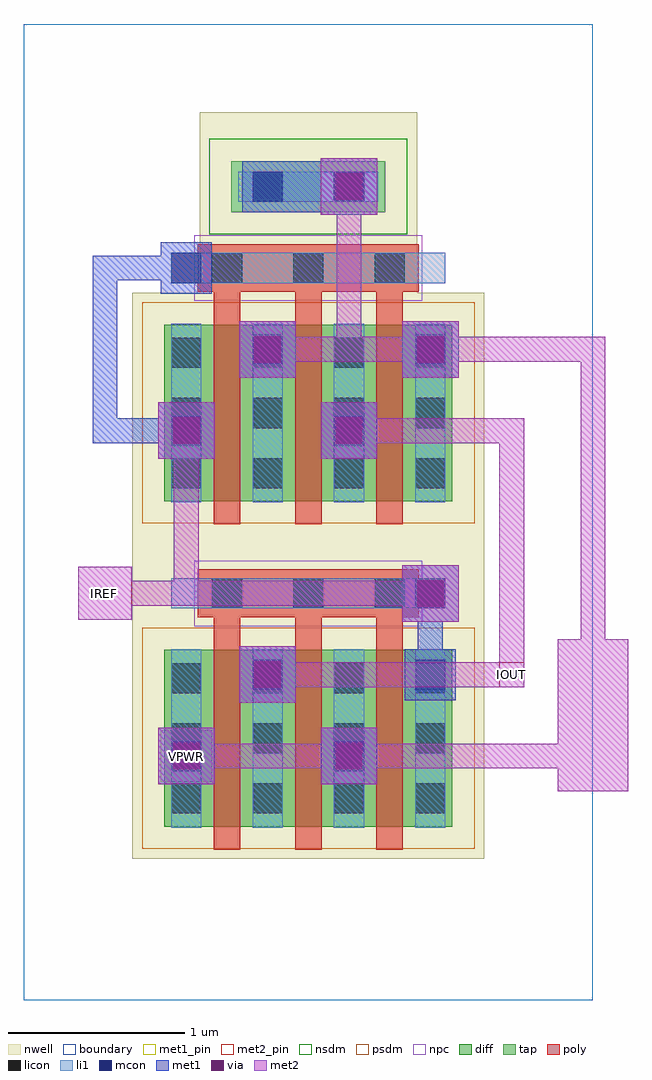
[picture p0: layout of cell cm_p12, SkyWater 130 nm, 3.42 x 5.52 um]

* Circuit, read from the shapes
.subckt cm_p12 IOUT IREF VPWR
XM1 IOUT IREF VPWR VPWR sky130_fd_pr__pfet_01v8 w=1 l=0.15 m=4
XM2 VPWR IREF IREF VPWR sky130_fd_pr__pfet_01v8 w=1 l=0.15 m=2
.ends

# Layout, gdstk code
import gdstk
lib = gdstk.Library(unit=1e-6, precision=1e-09)
def R(c, l, rs):  # rectangles x0, y0, x1, y1
    for r in rs: c.add(gdstk.rectangle(r[:2], r[2:], *l))
def A(c, l, x, y, w, h, nx, ny, dx, dy):  # array of equal rectangles
    R(c, l, [(x+i*dx, y+j*dy, x+i*dx+w, y+j*dy+h) for i in range(nx) for j in range(ny)])
nwell = (64, 20)
diff = (65, 20)
tap = (65, 44)
poly = (66, 20)
licon = (66, 44)
li1 = (67, 20)
mcon = (67, 44)
met1_pin = (68, 16)
met1 = (68, 20)
via = (68, 44)
met2_pin = (69, 16)
met2 = (69, 20)
nsdm = (93, 44)
psdm = (94, 20)
npc = (95, 20)
boundary = (235, 4)

cm_p12 = lib.new_cell('cm_p12')
R(cm_p12, nwell, [(0.615,0.8,2.605,4), (0.995,4,2.225,5.02)])
R(cm_p12, diff, [(0.795,0.98,2.425,1.98), (0.795,2.82,2.425,3.82)])
R(cm_p12, tap, [(1.175,4.455,2.045,4.745)])
A(cm_p12, poly, 1.075, 0.85, 0.15, 1.45, 3, 2, 0.46, 1.84)
R(cm_p12, poly, [(0.985,2.165,2.235,2.435), (0.985,4.005,2.235,4.275)])
A(cm_p12, licon, 0.835, 1.055, 0.17, 0.17, 4, 3, 0.46, 0.34)
A(cm_p12, licon, 1.065, 2.215, 0.17, 0.17, 3, 2, 0.46, 1.84)
A(cm_p12, licon, 0.835, 2.895, 0.17, 0.17, 4, 3, 0.46, 0.34)
R(cm_p12, licon, [(1.295,4.515,1.465,4.685), (1.755,4.515,1.925,4.685)])
A(cm_p12, li1, 0.835, 0.975, 0.17, 1.01, 4, 2, 0.46, 1.84)
R(cm_p12, li1, [(0.835,2.215,2.385,2.385), (0.835,4.055,2.385,4.225), (1.215,4.515,2.005,4.685)])
R(cm_p12, mcon, [(0.835,1.295,1.005,1.465), (1.755,1.295,1.925,1.465), (1.295,1.755,1.465,1.925), (2.215,1.755,2.385,1.925), (2.215,2.215,2.385,2.385), (0.835,3.135,1.005,3.305), (1.755,3.135,1.925,3.305), (1.295,3.595,1.465,3.765), (2.215,3.595,2.385,3.765), (0.835,4.055,1.005,4.225), (1.295,4.515,1.465,4.685), (1.755,4.515,1.925,4.685)])
R(cm_p12, met1_pin, [(0.775,1.235,1.065,1.525)])
R(cm_p12, met1, [(0.76,1.22,1.08,1.54), (1.68,1.22,2,1.54), (0.775,1.235,1.065,1.525), (1.695,1.235,1.985,1.525), (1.22,1.68,1.54,2), (1.235,1.695,1.525,1.985), (2.155,1.695,2.445,1.985), (2.23,1.77,2.37,2.37), (2.14,2.14,2.46,2.46), (2.155,2.155,2.445,2.445), (0.76,3.06,1.08,3.38), (1.68,3.06,2,3.38), (0.775,3.075,1.065,3.365), (1.695,3.075,1.985,3.365), (0.39,3.15,0.99,3.29), (0.39,3.15,0.53,4.21), (1.22,3.52,1.54,3.84), (2.14,3.52,2.46,3.84), (1.235,3.535,1.525,3.825), (2.155,3.535,2.445,3.825), (0.775,3.995,1.065,4.285), (0.39,4.07,0.99,4.21), (1.68,4.44,2,4.76), (1.235,4.455,1.985,4.745), (1.77,4.53,1.91,4.67)])
R(cm_p12, via, [(0.845,1.305,0.995,1.455), (1.765,1.305,1.915,1.455), (1.305,1.765,1.455,1.915), (2.225,2.225,2.375,2.375), (0.845,3.145,0.995,3.295), (1.765,3.145,1.915,3.295), (1.305,3.605,1.455,3.755), (2.225,3.605,2.375,3.755), (1.765,4.525,1.915,4.675)])
R(cm_p12, met2_pin, [(2.69,1.77,2.83,1.91), (0.31,2.15,0.61,2.45)])
R(cm_p12, met2, [(3.02,1.18,3.42,2.04), (0.76,1.22,1.08,1.54), (1.68,1.22,2,1.54), (0.85,1.31,1.91,1.45), (1.77,1.31,3.29,1.45), (1.22,1.68,1.54,2), (1.31,1.77,2.83,1.91), (2.69,1.77,2.83,1.91), (2.69,1.77,2.83,3.29), (3.15,1.77,3.29,3.75), (2.14,2.14,2.46,2.46), (0.31,2.15,0.61,2.45), (0.39,2.23,0.53,2.37), (0.39,2.23,2.37,2.37), (0.85,2.23,0.99,3.29), (0.76,3.06,1.08,3.38), (1.68,3.06,2,3.38), (1.77,3.15,2.83,3.29), (1.22,3.52,1.54,3.84), (2.14,3.52,2.46,3.84), (1.31,3.61,2.37,3.75), (1.77,3.61,1.91,4.67), (2.23,3.61,3.29,3.75), (1.68,4.44,2,4.76)])
R(cm_p12, nsdm, [(1.05,4.33,2.17,4.87)])
R(cm_p12, psdm, [(0.67,0.855,2.55,2.105), (0.67,2.695,2.55,3.945)])
R(cm_p12, npc, [(0.965,2.115,2.255,2.485), (0.965,3.955,2.255,4.325)])
R(cm_p12, boundary, [(0,0,3.22,5.52)])
cm_p12.add(gdstk.Label('VPWR', (0.92,1.38), layer=68, texttype=5))
cm_p12.add(gdstk.Label('IREF', (0.46,2.3), layer=69, texttype=5))
cm_p12.add(gdstk.Label('IOUT', (2.76,1.84), layer=69, texttype=5))
cm_p12.add(gdstk.Label('VPWR', (0.92,1.38), layer=68, texttype=16))
cm_p12.add(gdstk.Label('IREF', (0.46,2.3), layer=69, texttype=16))
cm_p12.add(gdstk.Label('IOUT', (2.76,1.84), layer=69, texttype=16))

lib.write_gds('cm_p12.gds')
